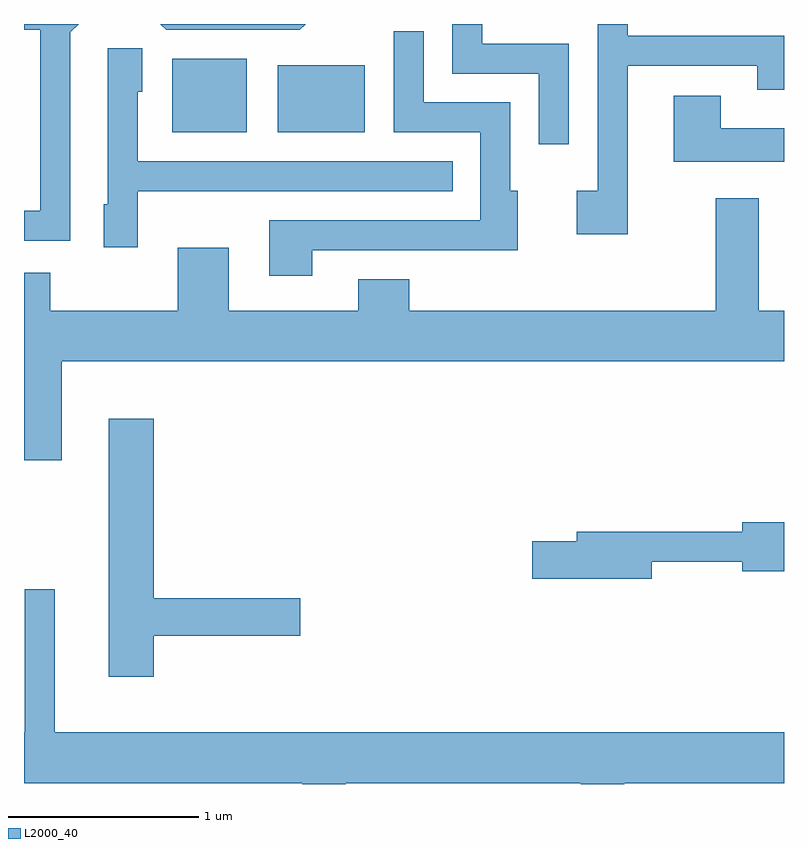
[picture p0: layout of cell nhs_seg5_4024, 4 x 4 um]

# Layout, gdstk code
import gdstk
lib = gdstk.Library(unit=1e-6, precision=1e-09)
def R(c, l, rs):  # rectangles x0, y0, x1, y1
    for r in rs: c.add(gdstk.rectangle(r[:2], r[2:], *l))
def P(c, l, *ps):  # polygons
    for p in ps: c.add(gdstk.Polygon(p, *l))
L2000_40 = (2000, 40)

nhs_seg5_4024 = lib.new_cell('nhs_seg5_4024')
R(nhs_seg5_4024, L2000_40, [(304.391,1513.501,304.784,1513.889), (304.946,1513.501,305.404,1513.854)])
P(nhs_seg5_4024, L2000_40, [(306.789,1513.851),(307.471,1513.851),(307.471,1513.726),(307.611,1513.726),(307.611,1514.009),(306.789,1514.009),(306.789,1514.072),(306.631,1514.072),(306.631,1513.194),(306.521,1513.194),(306.521,1512.966),(306.789,1512.966)],
  [(303.854,1514.029),(303.898,1514.072),(303.611,1514.072),(303.611,1514.041),(303.696,1514.041),(303.696,1513.089),(303.611,1513.089),(303.611,1512.931),(303.854,1512.931)],
  [(305.093,1514.072),(304.328,1514.072),(304.359,1514.041),(305.062,1514.041)],
  [(306.479,1513.969),(306.024,1513.969),(306.024,1514.072),(305.866,1514.072),(305.866,1513.811),(306.321,1513.811),(306.321,1513.438),(306.479,1513.438)],
  [(305.129,1512.881),(306.209,1512.881),(306.209,1513.194),(306.169,1513.194),(306.169,1513.659),(305.714,1513.659),(305.714,1514.033),(305.556,1514.033),(305.556,1513.501),(306.011,1513.501),(306.011,1513.039),(304.901,1513.039),(304.901,1512.746),(305.129,1512.746)],
  [(304.209,1513.191),(305.868,1513.191),(305.868,1513.349),(304.209,1513.349),(304.209,1513.716),(304.234,1513.716),(304.234,1513.944),(304.051,1513.944),(304.051,1513.124),(304.031,1513.124),(304.031,1512.896),(304.209,1512.896)],
  [(307.611,1513.524),(307.279,1513.524),(307.279,1513.694),(307.031,1513.694),(307.031,1513.346),(307.611,1513.346)],
  [(303.809,1512.296),(307.611,1512.296),(307.611,1512.564),(307.479,1512.564),(307.479,1513.154),(307.251,1513.154),(307.251,1512.564),(305.639,1512.564),(305.639,1512.729),(305.371,1512.729),(305.371,1512.564),(304.689,1512.564),(304.689,1512.894),(304.421,1512.894),(304.421,1512.564),(303.749,1512.564),(303.749,1512.764),(303.611,1512.764),(303.611,1511.776),(303.809,1511.776)],
  [(304.294,1510.851),(305.064,1510.851),(305.064,1511.049),(304.294,1511.049),(304.294,1511.994),(304.056,1511.994),(304.056,1510.636),(304.294,1510.636)],
  [(306.914,1511.241),(307.391,1511.241),(307.391,1511.191),(307.611,1511.191),(307.611,1511.449),(307.391,1511.449),(307.391,1511.399),(306.521,1511.399),(306.521,1511.349),(306.286,1511.349),(306.286,1511.151),(306.914,1511.151)],
  [(305.304,1510.076),(306.541,1510.076),(306.541,1510.072),(306.769,1510.072),(306.769,1510.076),(307.611,1510.076),(307.611,1510.344),(303.774,1510.344),(303.774,1511.098),(303.616,1511.098),(303.616,1510.344),(303.611,1510.344),(303.611,1510.076),(305.076,1510.076),(305.076,1510.072),(305.304,1510.072)])

lib.write_gds('nhs_seg5_4024.gds')
